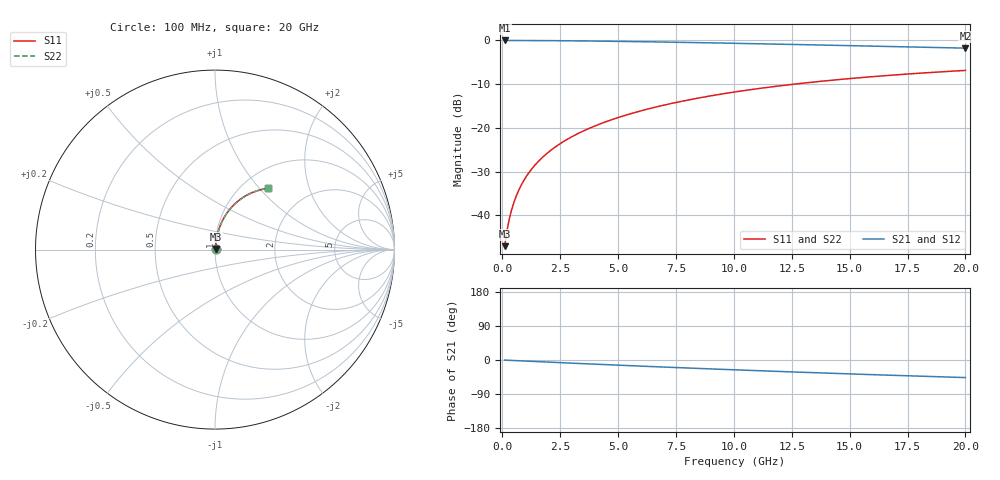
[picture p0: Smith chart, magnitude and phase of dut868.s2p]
! Touchstone file exported from HFSS 2024.1.0
!  File:  C:/UserFiles/LocalFiles/RDL_TSV_Batchsim/temp_RDL_top_868_1779856345.aedt
!  Generated:  12:34:23 PM May 27, 2026
!  Design:  RDL_top
!  Project:  temp_RDL_top_868_1779856345
!  Setup:  Setup1
!  Solution:  Sweep
! Variables:
!  dtsv = 10.80580581um
!  hbump = 3um
!  htsv = 55.82um
!  ldown = 100um
!  lrdl = 661.52um
!  p = 40
!  p1 = 46.81um
!  rhole = 1um
!  t = 450um
!  tdown = 3.915915916um
!  trdl = 4.5um
!  wdown = 15.38538539um
!  wrdl = 15.42um
# GHz S MA R 50.000000
! Terminal data exported
! Port[1] = Box2_T1
! Port[2] = Box2_T2
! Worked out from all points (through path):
!   200 points, 100 MHz to 20 GHz, reference 50 ohm
!   highest |S21| = -0.03 dB at 100 MHz (marker M1); lowest = -1.8 dB at 20 GHz (marker M2)
!   group delay of S21, straight-line fit = 6.42 ps
!   lowest |S11| = -47.0 dB at 100 MHz (marker M3), VSWR 1.01, Z = 50.3 + j0.281 ohm
!   |S11| at or under -10 dB: start of sweep to 12.63 GHz
!   |S22| runs from -47.0 to -6.9 dB; largest |S21 - S12| = 6.1e-15
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0.1  0.004452 38.8  0.9965 -0.3  0.9965 -0.3  0.004452 38.8
! Gamma 0 0 0 0
! Port Impedance 50 0 50 0
0.2  0.006594 56.9  0.9964 -0.6  0.9964 -0.6  0.006594 56.9
0.3  0.009018 65.3  0.9962 -0.9  0.9962 -0.9  0.009018 65.3
0.4  0.01151 70.1  0.9961 -1.1  0.9961 -1.1  0.01151 70.1
0.5  0.01404 73.1  0.9959 -1.4  0.9959 -1.4  0.01404 73.1
0.6  0.01658 75.2  0.9957 -1.7  0.9957 -1.7  0.01658 75.2
0.8  0.02171 77.9  0.9954 -2.3  0.9954 -2.3  0.02171 77.9
1.1  0.02947 79.9  0.9947 -3.1  0.9947 -3.1  0.02947 79.9
1.5  0.03989 81.1  0.9936 -4.2  0.9936 -4.2  0.03989 81.1
1.8  0.04772 81.5  0.9926 -5.0  0.9926 -5.0  0.04772 81.4
2.1  0.05556 81.5  0.9915 -5.9  0.9915 -5.9  0.05556 81.5
2.7  0.07124 81.2  0.9887 -7.5  0.9887 -7.5  0.07124 81.2
3.5  0.09212 80.3  0.9841 -9.7  0.9841 -9.7  0.09212 80.3
4.2  0.1103 79.3  0.9793 -11.5  0.9793 -11.5  0.1103 79.3
5  0.1311 78.0  0.9732 -13.6  0.9732 -13.6  0.1311 78.0
5.9  0.1543 76.4  0.9657 -15.9  0.9657 -15.9  0.1543 76.4
6.8  0.1773 74.8  0.9575 -18.2  0.9575 -18.2  0.1772 74.8
8.4  0.2174 71.6  0.9419 -22.1  0.9419 -22.1  0.2174 71.6
10.1  0.2586 68.2  0.9241 -26.1  0.9241 -26.1  0.2586 68.2
13.4  0.3329 61.5  0.8877 -33.4  0.8877 -33.4  0.3328 61.4
16.7  0.3978 55.0  0.8506 -40.1  0.8506 -40.1  0.3978 55.0
20  0.4531 48.9  0.8143 -46.4  0.8143 -46.4  0.453 48.9
